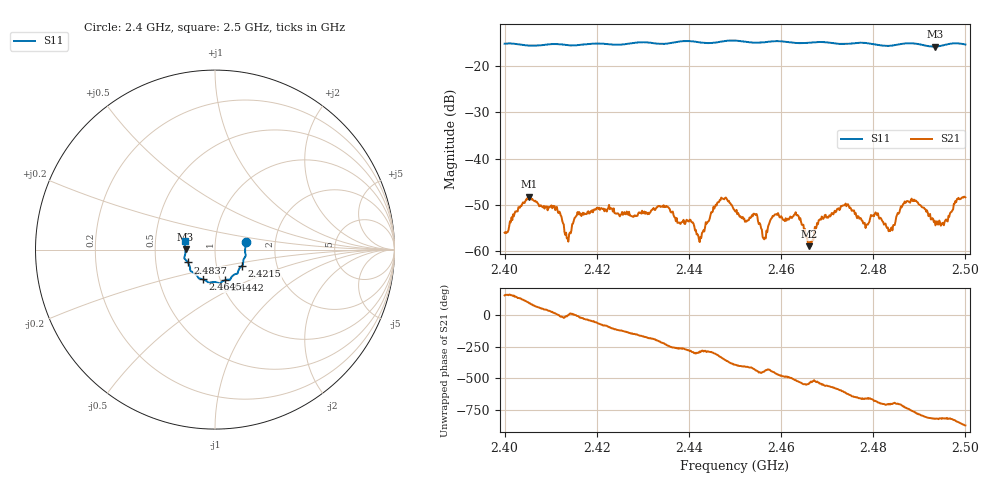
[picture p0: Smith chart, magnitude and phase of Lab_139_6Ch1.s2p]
# Hz S RI R 50
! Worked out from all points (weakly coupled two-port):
!   601 points, 2.4 GHz to 2.5 GHz, reference 50 ohm
!   highest |S21| = -48.26 dB at 2.4053 GHz (marker M1); lowest = -59.0 dB at 2.4662 GHz (marker M2)
!   lowest |S11| = -15.7 dB at 2.4933 GHz (marker M3), VSWR 1.39, Z = 35.9 + j0.0979 ohm
!   |S11| at or under -10 dB: start of sweep to end of sweep
!   S12 and S22 are empty: the file has one direction only
!   S11 on the Smith chart (normalised r, x): 2.4 GHz: 1.41, +0.12; 2.4215 GHz: 1.33, -0.25; 2.4442 GHz: 1.05, -0.37; 2.4645 GHz: 0.83, -0.29; 2.4837 GHz: 0.73, -0.11; 2.5 GHz: 0.71, +0.07
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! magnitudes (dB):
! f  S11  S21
! 2.4 GHz  -15.1  -56.1
! 2.4053 GHz  -15.5  -48.3
! 2.411 GHz  -15.2  -51.1
! 2.4135 GHz  -15.4  -57.3
! 2.4167 GHz  -15.3  -52.4
! 2.4215 GHz  -15.1  -50.8
! 2.4333 GHz  -15.1  -50.3
! 2.4422 GHz  -14.8  -57.5
! 2.4442 GHz  -15.0  -53.6
! 2.4475 GHz  -14.6  -48.8
! 2.45 GHz  -14.4  -51.4
! 2.4565 GHz  -14.8  -57.1
! 2.4588 GHz  -14.5  -52.1
! 2.4645 GHz  -15.0  -54.3
! 2.4662 GHz  -14.9  -59.0
! 2.4667 GHz  -14.8  -57.8
! 2.474 GHz  -15.1  -49.8
! 2.4833 GHz  -15.6  -55.7
! 2.4837 GHz  -15.5  -55.7
! 2.4887 GHz  -15.0  -49.2
! 2.4933 GHz  -15.7  -53.5
! 2.5 GHz  -15.3  -48.4
